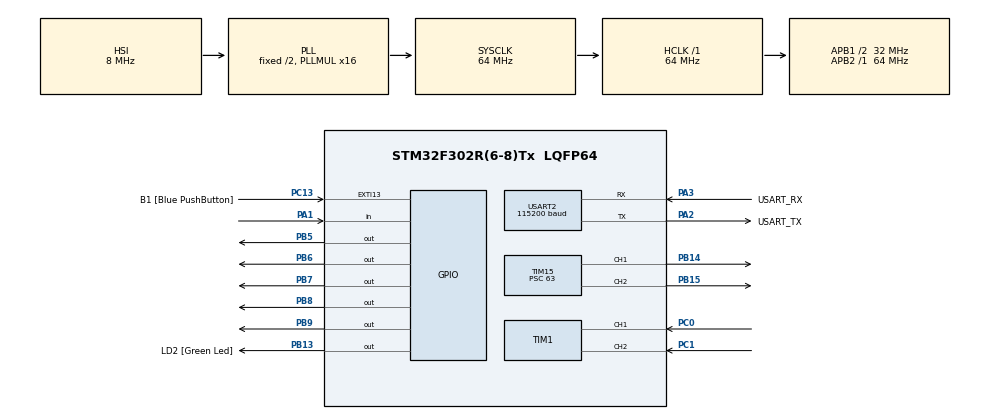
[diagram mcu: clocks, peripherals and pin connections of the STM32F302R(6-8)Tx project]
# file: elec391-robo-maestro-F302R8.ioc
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Mcu.Family=STM32F3
Mcu.Name=STM32F302R(6-8)Tx
Mcu.Package=LQFP64
NVIC.PriorityGroup=NVIC_PRIORITYGROUP_0
NVIC.TIM2_IRQn=true\:0\:0\:false\:false\:true\:true\:true\:true
PA1.GPIO_PuPd=GPIO_PULLUP
PA1.Signal=GPIO_Input
PA13.GPIO_Label=TMS
PA13.Mode=Serial_Wire
PA13.Signal=SYS_JTMS-SWDIO
PA14.GPIO_Label=TCK
PA14.Mode=Serial_Wire
PA14.Signal=SYS_JTCK-SWCLK
PA2.GPIO_Label=USART_TX
PA2.GPIO_Mode=GPIO_MODE_AF_PP
PA2.GPIO_PuPd=GPIO_NOPULL
PA2.GPIO_Speed=GPIO_SPEED_FREQ_LOW
PA2.Mode=Asynchronous
PA2.Signal=USART2_TX
PA3.GPIO_Label=USART_RX
PA3.GPIO_Mode=GPIO_MODE_AF_PP
PA3.GPIO_PuPd=GPIO_NOPULL
PA3.GPIO_Speed=GPIO_SPEED_FREQ_LOW
PA3.Mode=Asynchronous
PA3.Signal=USART2_RX
PB13.GPIO_Label=LD2 [Green Led]
PB13.Signal=GPIO_Output
PB14.Signal=S_TIM15_CH1
PB15.Signal=S_TIM15_CH2
PB3.GPIO_Label=SWO
PB3.Mode=Trace_Asynchronous_SW
PB3.Signal=SYS_JTDO-TRACESWO
PB5.Signal=GPIO_Output
PB6.Signal=GPIO_Output
PB7.Signal=GPIO_Output
PB8.Signal=GPIO_Output
PB9.Signal=GPIO_Output
PC0.GPIO_PuPd=GPIO_PULLUP
PC0.Signal=S_TIM1_CH1
PC1.GPIO_PuPd=GPIO_PULLUP
PC1.Signal=S_TIM1_CH2
PC13.GPIO_Label=B1 [Blue PushButton]
PC13.GPIO_ModeDefaultEXTI=GPIO_MODE_IT_FALLING
PC13.Signal=GPXTI13
PC14\ -\ OSC32_IN.Mode=LSE-External-Oscillator
PC14\ -\ OSC32_IN.Signal=RCC_OSC32_IN
PC15\ -\ OSC32_OUT.Mode=LSE-External-Oscillator
PC15\ -\ OSC32_OUT.Signal=RCC_OSC32_OUT
PF0-OSC_IN.Mode=HSE-External-Clock-Source
PF0-OSC_IN.Signal=RCC_OSC_IN
PF1-OSC_OUT.Signal=RCC_OSC_OUT
ProjectManager.HeapSize=0x200
ProjectManager.StackSize=0x400
ProjectManager.TargetToolchain=EWARM V8.32
RCC.AHBFreq_Value=64000000
RCC.APB1CLKDivider=RCC_HCLK_DIV2
RCC.APB1Freq_Value=32000000
RCC.APB1TimFreq_Value=64000000
RCC.APB2Freq_Value=64000000
RCC.APB2TimFreq_Value=64000000
RCC.CortexFreq_Value=64000000
RCC.HCLKFreq_Value=64000000
RCC.HSE_VALUE=8000000
RCC.HSI_VALUE=8000000
RCC.PLLM=8
RCC.PLLMUL=RCC_PLL_MUL16
RCC.PLLN=336
RCC.PLLP=RCC_PLLP_DIV4
RCC.PLLQ=7
RCC.RCC_PLLsource_Clock_Source_FROM_HSE=RCC_HSE_PREDIV_DIV2
RCC.SYSCLKFreq_VALUE=64000000
RCC.SYSCLKSourceVirtual=RCC_SYSCLKSOURCE_PLLCLK
RCC.USBFreq_Value=64000000
SH.S_TIM15_CH1.0=TIM15_CH1,PWM Generation1 CH1
SH.S_TIM15_CH2.0=TIM15_CH2,PWM Generation2 CH2
SH.S_TIM1_CH1.0=TIM1_CH1,Encoder_Interface
SH.S_TIM1_CH2.0=TIM1_CH2,Encoder_Interface
TIM1.AutoReloadPreload=TIM_AUTORELOAD_PRELOAD_DISABLE
TIM1.EncoderMode=TIM_ENCODERMODE_TI12
TIM15.Channel-PWM\ Generation1\ CH1=TIM_CHANNEL_1
TIM15.Channel-PWM\ Generation2\ CH2=TIM_CHANNEL_2
TIM15.Period=99
TIM15.Prescaler=63
TIM2.AutoReloadPreload=TIM_AUTORELOAD_PRELOAD_ENABLE
TIM2.Period=499
TIM2.Prescaler=63
USART2.BaudRate=115200
USART2.VirtualMode-Asynchronous=VM_ASYNC
VP_TIM2_VS_ClockSourceINT.Mode=Internal
board=NUCLEO-F302R8

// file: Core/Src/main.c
/* USER CODE BEGIN Header */
/**
  ******************************************************************************
  * @file           : main.c
  * @brief          : Main program body
  ******************************************************************************
  * @attention
  *
  * Copyright (c) 2026 STMicroelectronics.
  * All rights reserved.
  *
  * This software is licensed under terms that can be found in the LICENSE file
  * in the root directory of this software component.
  * If no LICENSE file comes with this software, it is provided AS-IS.
  *
  ******************************************************************************
  */
/* USER CODE END Header */
#include "main.h"
#include "tim.h"
#include "usart.h"
#include "gpio.h"

/* USER CODE BEGIN Includes */
#include <stdlib.h>
#include <stdint.h>
#include <string.h>
#include <stdio.h>
#include <math.h>
#include "fsm.h"
/* USER CODE END Includes */

/* USER CODE BEGIN PV */
//float Kp_displacement = 4.5f;
float Kp_displacement = 20.0f;
float Ki_displacement = 1.2f;
float Kd_displacement = 0.3f;
float Kp_velocity = 0.6f;
float Ki_velocity = 5.0f;
float N = 6.5;
const float dt_inner = 0.0005f;   // 2kHz
const float dt_outer = 0.001f;    // 1kHz
float countsToRad = (2.0f * M_PI) / 2797.0f;

float vel = 0.0f;
float maxVel = 40000.0f;
float maxAccel = 75000.0f;
float alpha = 0.05;

volatile int16_t pos = 0;
volatile float delta = 0;
volatile int16_t prevPos = 0;
volatile int32_t lastTargetFSM = 0;

volatile float error_displacement = 0;
volatile float prevError_displacement = 0;
volatile float error_velocity = 0.0f;
volatile float prevError_velocity = 0.0f;
volatile float prop_displacement = 0.0f;
volatile float integral_displacement = 0.0f;
volatile float deriv_displacement = 0.0f;
volatile float prop_velocity = 0.0f;
volatile float integral_velocity = 0.0f;
volatile float prevDeriv_displacement = 0.0f;
volatile float PD_output = 0.0f;
volatile float output = 0.0f;
volatile float percent = 0.0f;
volatile float angularDisplacement = 0.0f;
volatile float angularVelocity = 0.0f;
volatile float rawVelocity = 0.0f;

int32_t subTarget = 0;
float subTarget_f = 0.0f;
//float position_snap_tolerance = 3.0f;
bool done_move = false;
volatile uint8_t outerLoopCounter = 0;
static uint8_t startupCount = 0;

bool homed = false;
/* USER CODE END PV */

void SystemClock_Config(void);
/* USER CODE BEGIN PFP */
void RateLimiter(int32_t finalTarget);
void HAL_TIM_PeriodElapsedCallback(TIM_HandleTypeDef *htim);
void MotorSetSpeedPercentCh1(float percent);
void MotorSetSpeedPercentCh2(float percent);
/* USER CODE END PFP */

int main(void)
{

  /* MCU Configuration--------------------------------------------------------*/

  /* Reset of all peripherals, Initializes the Flash interface and the Systick. */
  HAL_Init();

  /* Configure the system clock */
  SystemClock_Config();

  /* Initialize all configured peripherals */
  MX_GPIO_Init();
  MX_TIM2_Init();
  MX_TIM15_Init();
  MX_USART2_UART_Init();
  MX_TIM1_Init();
  /* USER CODE BEGIN 2 */
  HAL_TIM_Encoder_Start(&HTIM_ENCODER, TIM_CHANNEL_ALL);
  HAL_TIM_Base_Start_IT(&HTIM_PID);
  HAL_TIM_PWM_Start(&HTIM_MOTOR, TIM_MOTOR_CHANNEL_A);
  HAL_TIM_PWM_Start(&HTIM_MOTOR, TIM_MOTOR_CHANNEL_B);
  MotorSetSpeedPercentCh1(0.0);
  MotorSetSpeedPercentCh2(0.0);

  printf("\033[2J\033[H");
  uint32_t lastPrint = 0;
  /* USER CODE END 2 */

  /* Infinite loop */
  /* USER CODE BEGIN WHILE */
  //StopAllSolenoids();
  //FireSolenoid(1);
  while (1)
  {
    /* USER CODE END WHILE */

    /* USER CODE BEGIN 3 */

	  uint32_t now = HAL_GetTick();

	  if (now - lastPrint >= 100) { // every 100 ms
	  	  lastPrint = HAL_GetTick();
	  	  if (homed) {
			  __disable_irq();
			  int16_t pos_copy = pos;
			  int32_t sub_copy = subTarget;
			  float prop_copy = prop_displacement;
			  float int_copy = integral_displacement;
			  float deriv_copy = deriv_displacement;
			  float vel_copy = angularVelocity;
			  float out_copy = output;
			  __enable_irq();

			  printf("%ld,%d,%ld,%f,%f,%f,%f,%f\r\n", now, pos_copy, sub_copy,
				  (double)prop_copy, (double)int_copy, (double)deriv_copy,
				  (double)vel_copy, (double)out_copy);
	  	  }
	  	  /*
		  switch (state) {
		      case HOME:
		          printf("FSM State: HOME\n");
		          break;
		      case WAIT:
		          printf("FSM State: WAIT\n");
		          break;
		      case MOVE:
		          printf("FSM State: MOVE\n");
		          break;
		      case PLAY:
		          printf("FSM State: PLAY\n");
		          break;
		      case DONE:
		          //printf("FSM State: DONE\n");
		          break;
		      default:
		          printf("FSM State: UNKNOWN\n");
		          break;
		  }
		  if (done_move == false) {
			  printf("Time: %ld, Pos: %d, Vel: %lf, FSM Target = %d\r\n", now, pos, angularVelocity, target_FSM);
		  }
		  else if (state == DONE) {
			  continue;
		  }
		  else if (done_move == true) {
			  printf("Time: %ld, Done moving! Start playing.\r\n", now);
		  }
		  */
	  	  /*
	  	  if (HAL_GPIO_ReadPin(GPIOA, GPIO_PIN_1) == GPIO_PIN_SET) {
	  		  printf("Test\r\n");
	  	  }
	  	  */

		  //if (now < 15000) {
		  //}

		  /*
		  if (done_move == false) {
			  printf("%ld,%d,%ld,%lf,%lf,%lf,%lf,%lf\r\n", now, pos, subTarget, prop_displacement, integral_displacement, deriv_displacement, angularVelocity, output);
		  }
		  else if (done_move == true) {
			  printf("Done moving! Start playing.\r\n");
		  }
		  */
	  }
	  //SolenoidUpdate();
	 FSM();

  }
  /* USER CODE END 3 */
}

void SystemClock_Config(void)
{
  RCC_OscInitTypeDef RCC_OscInitStruct = {0};
  RCC_ClkInitTypeDef RCC_ClkInitStruct = {0};
  RCC_PeriphCLKInitTypeDef PeriphClkInit = {0};

  /** Initializes the RCC Oscillators according to the specified parameters
  * in the RCC_OscInitTypeDef structure.
  */
  RCC_OscInitStruct.OscillatorType = RCC_OSCILLATORTYPE_HSI;
  RCC_OscInitStruct.HSIState = RCC_HSI_ON;
  RCC_OscInitStruct.HSICalibrationValue = RCC_HSICALIBRATION_DEFAULT;
  RCC_OscInitStruct.PLL.PLLState = RCC_PLL_ON;
  RCC_OscInitStruct.PLL.PLLSource = RCC_PLLSOURCE_HSI;
  RCC_OscInitStruct.PLL.PLLMUL = RCC_PLL_MUL16;
  if (HAL_RCC_OscConfig(&RCC_OscInitStruct) != HAL_OK)
  {
    Error_Handler();
  }

  /** Initializes the CPU, AHB and APB buses clocks
  */
  RCC_ClkInitStruct.ClockType = RCC_CLOCKTYPE_HCLK|RCC_CLOCKTYPE_SYSCLK
                              |RCC_CLOCKTYPE_PCLK1|RCC_CLOCKTYPE_PCLK2;
  RCC_ClkInitStruct.SYSCLKSource = RCC_SYSCLKSOURCE_PLLCLK;
  RCC_ClkInitStruct.AHBCLKDivider = RCC_SYSCLK_DIV1;
  RCC_ClkInitStruct.APB1CLKDivider = RCC_HCLK_DIV2;
  RCC_ClkInitStruct.APB2CLKDivider = RCC_HCLK_DIV1;

  if (HAL_RCC_ClockConfig(&RCC_ClkInitStruct, FLASH_LATENCY_2) != HAL_OK)
  {
    Error_Handler();
  }
  PeriphClkInit.PeriphClockSelection = RCC_PERIPHCLK_TIM1|RCC_PERIPHCLK_TIM15;
  PeriphClkInit.Tim1ClockSelection = RCC_TIM1CLK_HCLK;
  PeriphClkInit.Tim15ClockSelection = RCC_TIM15CLK_HCLK;
  if (HAL_RCCEx_PeriphCLKConfig(&PeriphClkInit) != HAL_OK)
  {
    Error_Handler();
  }
}

/* USER CODE BEGIN 4 */
void Home(void) {
	if (homed == false) {
		MotorSetSpeedPercentCh1(0);
		MotorSetSpeedPercentCh2(0.05);
		if (HAL_GPIO_ReadPin(GPIOA, GPIO_PIN_1) == GPIO_PIN_SET) {
			MotorSetSpeedPercentCh1(0);
			MotorSetSpeedPercentCh2(0);
			homed = true;
		}
	}
}

void RateLimiter(int32_t finalTarget) {
	// TODO: Add rate limiter for target position --> increment target based on slew rate

	float remaining = (float)finalTarget - subTarget_f;
	int32_t position_tolerance = 5;
	int8_t direction = 0;

	if (fabsf(remaining) <= position_tolerance && fabsf(vel) <= (maxAccel * dt_outer)) {
		subTarget_f = (float)finalTarget;
		subTarget = finalTarget;
		vel = 0.0f;
		return;
	}

	if (remaining > 0.0f) {
		direction = 1;
	}
	else if (remaining < 0.0f) {
		direction = -1;
	}
	else {
		direction = 0;
	}

	float vel_abs = fabsf(vel);
	float nextVel = vel_abs + maxAccel * dt_outer;
	float brakingDistance = (nextVel * nextVel) / (2.0f * maxAccel); // calculating one tick ahead due to sampling time

	if (vel > 0.0f && direction < 0) {
		vel -= maxAccel * dt_outer;
		if (vel < 0.0f) vel = 0.0f;
	}
	else if (vel < 0.0f && direction > 0) {
		vel += maxAccel * dt_outer;
		if (vel > 0.0f) vel = 0.0f;
	}
	else {
		if (fabsf(remaining) <= brakingDistance) {
			if (vel_abs > 0.0f) {
				if (vel > 0.0f) {
					vel -= maxAccel * dt_outer;
					if (vel < maxAccel * dt_outer) {
						subTarget_f = (float)finalTarget;
						subTarget = finalTarget;
						vel = 0.0f;
						return;
					}
				}
				else if (vel < 0.0f) {
					vel += maxAccel * dt_outer;
					if (vel > -(maxAccel * dt_outer)) {
						subTarget_f = (float)finalTarget;
						subTarget = finalTarget;
						vel = 0.0f;
						return;
					}
				}
			}
		}
		else {
			if (fabsf(remaining) > position_tolerance) {
				vel += maxAccel * dt_outer * (float)direction;
				if (vel > maxVel) vel = maxVel;
				if (vel < -maxVel) vel = -maxVel;
			}
		}
	}

	subTarget_f += vel * dt_outer;

	if (direction > 0 && subTarget_f > (float)finalTarget) {
		subTarget_f = (float)finalTarget;
		vel = 0.0f;
	}
	else if (direction < 0 && subTarget_f < (float)finalTarget) {
		subTarget_f = (float)finalTarget;
		vel = 0.0f;
	}

	subTarget = (int16_t)subTarget_f;
}

void HAL_TIM_PeriodElapsedCallback(TIM_HandleTypeDef *htim) {
	if (htim == &HTIM_PID) {
		pos = (int16_t)__HAL_TIM_GET_COUNTER(&HTIM_ENCODER);
		delta = (float)(pos - prevPos);
		prevPos = pos;

		if (enCtrl) {
			// PID controller method: Backwards Euler
			// sampling frequency f = 1kHz --> sampling period dt = 0.001 s
			// Integral term = i = dt * (z / (z - 1)) --> step response u[n] at each dt
			// Derivative term = d = N / (1 + N*dt*(z / (z-1)))

			outerLoopCounter++;

			// Outer loop: position PD at 1kHz (every 2nd tick)
			if (outerLoopCounter >= 2) {
				outerLoopCounter = 0;

				// input the rate limiter output into the PID controller
				RateLimiter(target_FSM);

				error_displacement = (subTarget - pos) * countsToRad;
				prop_displacement = Kp_displacement * error_displacement;

				deriv_displacement = (prevDeriv_displacement + Kd_displacement * N * (error_displacement - prevError_displacement)) / (1.0f + N * dt_outer);

				PD_output = prop_displacement + deriv_displacement;

				prevError_displacement = error_displacement;
				prevDeriv_displacement = deriv_displacement;
			}

			// Inner loop: velocity PI at 2kHz (every tick)
			rawVelocity = (float)(delta / dt_inner) * countsToRad;

			if (startupCount < 10) {
				angularVelocity = 0.0f;
				startupCount++;
			} else {
				angularVelocity = alpha * rawVelocity + (1.0f - alpha) * angularVelocity;
			}
			error_velocity = PD_output - angularVelocity;

			prop_velocity = Kp_velocity * error_velocity;

			float raw_output = prop_velocity + integral_velocity;

			// Clamp output
			if (raw_output > 100.0f) {
				output = 100.0f;
			} else if (raw_output < -100.0f) {
				output = -100.0f;
			} else {
				output = raw_output;
			}

			// only integrates when output is NOT saturated or when the error would reduce the integral
			if (fabsf(raw_output) < 100.0f || (error_velocity * integral_velocity) < 0.0f) {
				integral_velocity += Ki_velocity * error_velocity * dt_inner;
			}

			// Implement dead-zone (tolerance) to reset derivative and integral terms to 0

			if (labs(target_FSM - pos) < 30 && fabsf(angularVelocity) < 1.0f) {
				prevError_displacement = 0.0f;
				//integral = 0.0f;
				//deriv = 0.0f;
				prevDeriv_displacement = 0.0f;
				MotorSetSpeedPercentCh1(0);
				MotorSetSpeedPercentCh2(0);
				//if (abs(target-pos) < 10) {
				prop_displacement = 0.0f;
				integral_velocity = 0.0f;
				output = 0.0f;
				if (target_FSM != lastTargetFSM) {
					lastTargetFSM = target_FSM;
					done_move = true;
				}
				//}
			} else {
				// Switch direction depending on output sign
				if (output > 0.0f) {
					MotorSetSpeedPercentCh1(output);
					MotorSetSpeedPercentCh2(0);
				}
				else if (output < 0.0f) {
					MotorSetSpeedPercentCh1(0);
					MotorSetSpeedPercentCh2(output * -1.0f);
				}
				else {
					MotorSetSpeedPercentCh1(0);
					MotorSetSpeedPercentCh2(0);
				}
			}
		}
	}
}

void MotorSetSpeedPercentCh1(float percent) {
    if(percent > 100) percent = 100;
	if(percent < 0 )  percent = 0;
    uint32_t speed = (percent / 100.0) * 63999;
    __HAL_TIM_SET_COMPARE(&HTIM_MOTOR, TIM_CHANNEL_1, speed);
}

void MotorSetSpeedPercentCh2(float percent) {
	if(percent > 100) percent = 100;
	if(percent < 0 )  percent = 0;
	uint32_t speed = (percent / 100.0) * 63999;
	__HAL_TIM_SET_COMPARE(&HTIM_MOTOR, TIM_CHANNEL_2, speed);
}

int _write(int file, char *ptr, int len)
{
    HAL_UART_Transmit(&huart2, (uint8_t*)ptr, len, HAL_MAX_DELAY);
    return len;
}
/* USER CODE END 4 */

void Error_Handler(void)
{
  __disable_irq();
  while (1)
  {
  }
}
